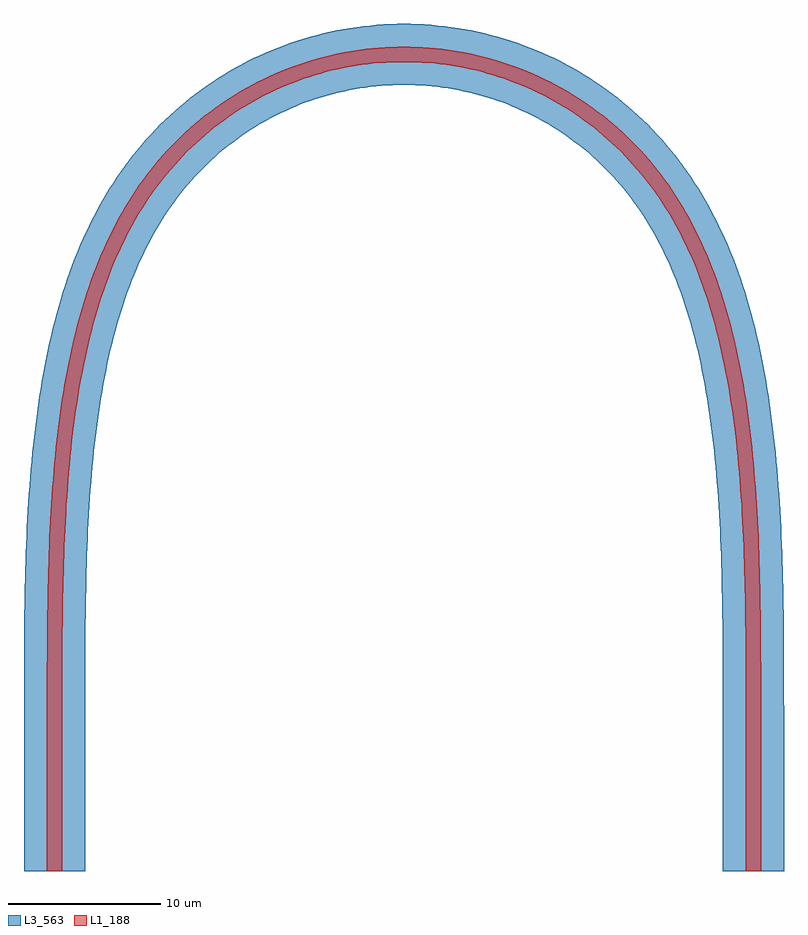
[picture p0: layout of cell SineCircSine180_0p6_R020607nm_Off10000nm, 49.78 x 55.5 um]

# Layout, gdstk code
import gdstk
lib = gdstk.Library(unit=1e-6, precision=1e-09)
L1_188 = (1, 188)
L3_563 = (3, 563)

sinecircsine180_0p6_r020 = lib.new_cell('SineCircSine180_0p6_R020607nm_Off10000nm')
sinecircsine180_0p6_r020.add(gdstk.FlexPath([(-22.889,-32.889),(-22.889,-22.889),(-22.889,-22.316),(-22.888,-21.744),(-22.888,-21.172),(-22.887,-20.601),(-22.886,-20.03),(-22.885,-19.459),(-22.882,-18.889),(-22.879,-18.32),(-22.875,-17.752),(-22.87,-17.185),(-22.864,-16.619),(-22.857,-16.054),(-22.848,-15.49),(-22.838,-14.928),(-22.827,-14.367),(-22.814,-13.808),(-22.799,-13.251),(-22.782,-12.695),(-22.763,-12.142),(-22.743,-11.59),(-22.72,-11.041),(-22.695,-10.494),(-22.667,-9.949),(-22.637,-9.407),(-22.605,-8.867),(-22.57,-8.33),(-22.532,-7.796),(-22.491,-7.264),(-22.447,-6.736),(-22.401,-6.21),(-22.351,-5.688),(-22.298,-5.168),(-22.242,-4.652),(-22.182,-4.14),(-22.119,-3.631),(-22.052,-3.125),(-21.982,-2.624),(-21.908,-2.125),(-21.83,-1.631),(-21.748,-1.141),(-21.662,-0.654),(-21.572,-0.172),(-21.478,0.306),(-21.38,0.78),(-21.278,1.25),(-21.171,1.715),(-21.06,2.176),(-20.944,2.633),(-20.824,3.085),(-20.699,3.532),(-20.569,3.975),(-20.435,4.413),(-20.296,4.846),(-20.152,5.275),(-20.003,5.698),(-19.85,6.117),(-19.691,6.53),(-19.527,6.939),(-19.358,7.342),(-19.184,7.74),(-19.005,8.133),(-18.821,8.521),(-18.631,8.903),(-18.436,9.28),(-18.236,9.652),(-18.03,10.019),(-17.819,10.38),(-17.602,10.735),(-17.38,11.086),(-17.152,11.43),(-16.919,11.769),(-16.681,12.103),(-16.437,12.431),(-16.187,12.754),(-15.932,13.071),(-15.671,13.382),(-15.404,13.688),(-15.132,13.988),(-14.855,14.282),(-14.571,14.571),(-14.282,14.855),(-13.988,15.132),(-13.688,15.404),(-13.383,15.67),(-13.073,15.929),(-12.758,16.183),(-12.437,16.43),(-12.112,16.671),(-11.783,16.906),(-11.449,17.134),(-11.11,17.356),(-10.767,17.57),(-10.42,17.778),(-10.069,17.98),(-9.714,18.174),(-9.355,18.361),(-8.993,18.541),(-8.627,18.714),(-8.258,18.88),(-7.886,19.038),(-7.511,19.19),(-7.132,19.333),(-6.751,19.47),(-6.368,19.598),(-5.982,19.72),(-5.594,19.833),(-5.203,19.939),(-4.811,20.038),(-4.416,20.128),(-4.02,20.211),(-3.623,20.286),(-3.224,20.353),(-2.823,20.413),(-2.422,20.464),(-2.02,20.508),(-1.617,20.543),(-1.213,20.571),(-0.809,20.591),(-0.405,20.603),(0,20.607),(0.405,20.603),(0.809,20.591),(1.213,20.571),(1.617,20.543),(2.02,20.508),(2.422,20.464),(2.823,20.413),(3.224,20.353),(3.623,20.286),(4.02,20.211),(4.416,20.128),(4.811,20.038),(5.203,19.939),(5.594,19.833),(5.982,19.72),(6.368,19.598),(6.751,19.47),(7.132,19.333),(7.511,19.19),(7.886,19.038),(8.258,18.88),(8.627,18.714),(8.993,18.541),(9.355,18.361),(9.714,18.174),(10.069,17.98),(10.42,17.778),(10.767,17.57),(11.11,17.356),(11.449,17.134),(11.783,16.906),(12.112,16.671),(12.437,16.43),(12.758,16.183),(13.073,15.929),(13.383,15.67),(13.688,15.404),(13.988,15.132),(14.282,14.855),(14.571,14.571),(14.855,14.282),(15.132,13.988),(15.404,13.688),(15.671,13.382),(15.932,13.071),(16.187,12.754),(16.437,12.431),(16.681,12.103),(16.919,11.769),(17.152,11.43),(17.38,11.086),(17.602,10.735),(17.819,10.38),(18.03,10.019),(18.236,9.652),(18.436,9.28),(18.631,8.903),(18.821,8.521),(19.005,8.133),(19.184,7.74),(19.358,7.342),(19.527,6.939),(19.691,6.53),(19.85,6.117),(20.003,5.698),(20.152,5.275),(20.296,4.846),(20.435,4.413),(20.569,3.975),(20.699,3.532),(20.824,3.085),(20.944,2.633),(21.06,2.176),(21.171,1.715),(21.278,1.25),(21.38,0.78),(21.478,0.306),(21.572,-0.172),(21.662,-0.654),(21.748,-1.141),(21.83,-1.631),(21.908,-2.125),(21.982,-2.624),(22.052,-3.125),(22.119,-3.631),(22.182,-4.14),(22.242,-4.652),(22.298,-5.168),(22.351,-5.688),(22.401,-6.21),(22.447,-6.736),(22.491,-7.264),(22.532,-7.796),(22.57,-8.33),(22.605,-8.867),(22.637,-9.407),(22.667,-9.949),(22.695,-10.494),(22.72,-11.041),(22.743,-11.59),(22.763,-12.142),(22.782,-12.695),(22.799,-13.251),(22.814,-13.808),(22.827,-14.367),(22.838,-14.928),(22.848,-15.49),(22.857,-16.054),(22.864,-16.619),(22.87,-17.185),(22.875,-17.752),(22.879,-18.32),(22.882,-18.889),(22.885,-19.459),(22.886,-20.03),(22.887,-20.601),(22.888,-21.172),(22.888,-21.744),(22.889,-22.316),(22.889,-22.889),(22.889,-32.889)], 1, ends="flush", simple_path=True, layer=1, datatype=188))  # L1_188
sinecircsine180_0p6_r020.add(gdstk.FlexPath([(-22.889,-32.889),(-22.889,-22.889),(-22.889,-22.316),(-22.888,-21.744),(-22.888,-21.172),(-22.887,-20.601),(-22.886,-20.03),(-22.885,-19.459),(-22.882,-18.889),(-22.879,-18.32),(-22.875,-17.752),(-22.87,-17.185),(-22.864,-16.619),(-22.857,-16.054),(-22.848,-15.49),(-22.838,-14.928),(-22.827,-14.367),(-22.814,-13.808),(-22.799,-13.251),(-22.782,-12.695),(-22.763,-12.142),(-22.743,-11.59),(-22.72,-11.041),(-22.695,-10.494),(-22.667,-9.949),(-22.637,-9.407),(-22.605,-8.867),(-22.57,-8.33),(-22.532,-7.796),(-22.491,-7.264),(-22.447,-6.736),(-22.401,-6.21),(-22.351,-5.688),(-22.298,-5.168),(-22.242,-4.652),(-22.182,-4.14),(-22.119,-3.631),(-22.052,-3.125),(-21.982,-2.624),(-21.908,-2.125),(-21.83,-1.631),(-21.748,-1.141),(-21.662,-0.654),(-21.572,-0.172),(-21.478,0.306),(-21.38,0.78),(-21.278,1.25),(-21.171,1.715),(-21.06,2.176),(-20.944,2.633),(-20.824,3.085),(-20.699,3.532),(-20.569,3.975),(-20.435,4.413),(-20.296,4.846),(-20.152,5.275),(-20.003,5.698),(-19.85,6.117),(-19.691,6.53),(-19.527,6.939),(-19.358,7.342),(-19.184,7.74),(-19.005,8.133),(-18.821,8.521),(-18.631,8.903),(-18.436,9.28),(-18.236,9.652),(-18.03,10.019),(-17.819,10.38),(-17.602,10.735),(-17.38,11.086),(-17.152,11.43),(-16.919,11.769),(-16.681,12.103),(-16.437,12.431),(-16.187,12.754),(-15.932,13.071),(-15.671,13.382),(-15.404,13.688),(-15.132,13.988),(-14.855,14.282),(-14.571,14.571),(-14.282,14.855),(-13.988,15.132),(-13.688,15.404),(-13.383,15.67),(-13.073,15.929),(-12.758,16.183),(-12.437,16.43),(-12.112,16.671),(-11.783,16.906),(-11.449,17.134),(-11.11,17.356),(-10.767,17.57),(-10.42,17.778),(-10.069,17.98),(-9.714,18.174),(-9.355,18.361),(-8.993,18.541),(-8.627,18.714),(-8.258,18.88),(-7.886,19.038),(-7.511,19.19),(-7.132,19.333),(-6.751,19.47),(-6.368,19.598),(-5.982,19.72),(-5.594,19.833),(-5.203,19.939),(-4.811,20.038),(-4.416,20.128),(-4.02,20.211),(-3.623,20.286),(-3.224,20.353),(-2.823,20.413),(-2.422,20.464),(-2.02,20.508),(-1.617,20.543),(-1.213,20.571),(-0.809,20.591),(-0.405,20.603),(0,20.607),(0.405,20.603),(0.809,20.591),(1.213,20.571),(1.617,20.543),(2.02,20.508),(2.422,20.464),(2.823,20.413),(3.224,20.353),(3.623,20.286),(4.02,20.211),(4.416,20.128),(4.811,20.038),(5.203,19.939),(5.594,19.833),(5.982,19.72),(6.368,19.598),(6.751,19.47),(7.132,19.333),(7.511,19.19),(7.886,19.038),(8.258,18.88),(8.627,18.714),(8.993,18.541),(9.355,18.361),(9.714,18.174),(10.069,17.98),(10.42,17.778),(10.767,17.57),(11.11,17.356),(11.449,17.134),(11.783,16.906),(12.112,16.671),(12.437,16.43),(12.758,16.183),(13.073,15.929),(13.383,15.67),(13.688,15.404),(13.988,15.132),(14.282,14.855),(14.571,14.571),(14.855,14.282),(15.132,13.988),(15.404,13.688),(15.671,13.382),(15.932,13.071),(16.187,12.754),(16.437,12.431),(16.681,12.103),(16.919,11.769),(17.152,11.43),(17.38,11.086),(17.602,10.735),(17.819,10.38),(18.03,10.019),(18.236,9.652),(18.436,9.28),(18.631,8.903),(18.821,8.521),(19.005,8.133),(19.184,7.74),(19.358,7.342),(19.527,6.939),(19.691,6.53),(19.85,6.117),(20.003,5.698),(20.152,5.275),(20.296,4.846),(20.435,4.413),(20.569,3.975),(20.699,3.532),(20.824,3.085),(20.944,2.633),(21.06,2.176),(21.171,1.715),(21.278,1.25),(21.38,0.78),(21.478,0.306),(21.572,-0.172),(21.662,-0.654),(21.748,-1.141),(21.83,-1.631),(21.908,-2.125),(21.982,-2.624),(22.052,-3.125),(22.119,-3.631),(22.182,-4.14),(22.242,-4.652),(22.298,-5.168),(22.351,-5.688),(22.401,-6.21),(22.447,-6.736),(22.491,-7.264),(22.532,-7.796),(22.57,-8.33),(22.605,-8.867),(22.637,-9.407),(22.667,-9.949),(22.695,-10.494),(22.72,-11.041),(22.743,-11.59),(22.763,-12.142),(22.782,-12.695),(22.799,-13.251),(22.814,-13.808),(22.827,-14.367),(22.838,-14.928),(22.848,-15.49),(22.857,-16.054),(22.864,-16.619),(22.87,-17.185),(22.875,-17.752),(22.879,-18.32),(22.882,-18.889),(22.885,-19.459),(22.886,-20.03),(22.887,-20.601),(22.888,-21.172),(22.888,-21.744),(22.889,-22.316),(22.889,-22.889),(22.889,-32.889)], 4, ends="flush", simple_path=True, layer=3, datatype=563))  # L3_563

lib.write_gds('SineCircSine180_0p6_R020607nm_Off10000nm.gds')
